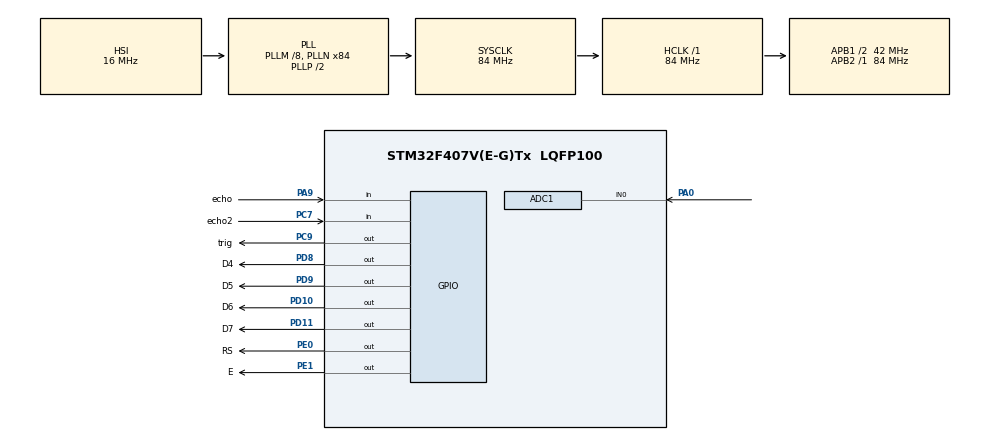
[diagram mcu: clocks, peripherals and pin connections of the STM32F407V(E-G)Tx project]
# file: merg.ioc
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ADC1.Channel-0\#ChannelRegularConversion=ADC_CHANNEL_0
ADC1.ContinuousConvMode=ENABLE
ADC1.DMAContinuousRequests=DISABLE
ADC1.NbrOfConversionFlag=1
ADC1.Rank-0\#ChannelRegularConversion=1
ADC1.Resolution=ADC_RESOLUTION_8B
ADC1.SamplingTime-0\#ChannelRegularConversion=ADC_SAMPLETIME_84CYCLES
ADC1.ScanConvMode=DISABLE
ADC1.master=1
Mcu.Family=STM32F4
Mcu.Name=STM32F407V(E-G)Tx
Mcu.Package=LQFP100
NVIC.PriorityGroup=NVIC_PRIORITYGROUP_4
PA0-WKUP.Signal=ADCx_IN0
PA9.GPIO_Label=echo
PA9.Signal=GPIO_Input
PC7.GPIO_Label=echo2
PC7.Signal=GPIO_Input
PC9.GPIO_Label=trig
PC9.Signal=GPIO_Output
PD10.GPIO_Label=D6
PD10.Signal=GPIO_Output
PD11.GPIO_Label=D7
PD11.Signal=GPIO_Output
PD8.GPIO_Label=D4
PD8.Signal=GPIO_Output
PD9.GPIO_Label=D5
PD9.Signal=GPIO_Output
PE0.GPIO_Label=RS
PE0.Signal=GPIO_Output
PE1.GPIO_Label=E
PE1.Signal=GPIO_Output
PH0-OSC_IN.Mode=HSE-External-Oscillator
PH0-OSC_IN.Signal=RCC_OSC_IN
PH1-OSC_OUT.Mode=HSE-External-Oscillator
PH1-OSC_OUT.Signal=RCC_OSC_OUT
ProjectManager.HeapSize=0x200
ProjectManager.StackSize=0x400
ProjectManager.TargetToolchain=MDK-ARM V4
RCC.48MHZClocksFreq_Value=42000000
RCC.AHBFreq_Value=84000000
RCC.APB1CLKDivider=RCC_HCLK_DIV2
RCC.APB1Freq_Value=42000000
RCC.APB1TimFreq_Value=84000000
RCC.APB2Freq_Value=84000000
RCC.APB2TimFreq_Value=84000000
RCC.CortexFreq_Value=84000000
RCC.HCLKFreq_Value=84000000
RCC.HSE_VALUE=25000000
RCC.HSI_VALUE=16000000
RCC.LSE_VALUE=32768
RCC.PLLM=8
RCC.PLLN=84
RCC.SYSCLKFreq_VALUE=84000000
RCC.SYSCLKSource=RCC_SYSCLKSOURCE_PLLCLK
RCC.VCOOutputFreq_Value=168000000
SH.ADCx_IN0.0=ADC1_IN0,IN0
TIM1.Period=0xffff
TIM1.Prescaler=84-1
VP_TIM1_VS_ClockSourceINT.Mode=Internal
board=custom

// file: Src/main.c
/* USER CODE BEGIN Header */
/**
  ******************************************************************************
  * @file           : main.c
  * @brief          : Main program body
  ******************************************************************************
  * @attention
  *
  * <h2><center>&copy; Copyright (c) 2020 STMicroelectronics.
  * All rights reserved.</center></h2>
  *
  * This software component is licensed by ST under BSD 3-Clause license,
  * the "License"; You may not use this file except in compliance with the
  * License. You may obtain a copy of the License at:
  *                        opensource.org/licenses/BSD-3-Clause
  *
  ******************************************************************************
  */
/* USER CODE END Header */

#include "main.h"
#include "STM_MY_LCD16X2.h"
#include <stdint.h>
#include <string.h>
#include <stdio.h>

/* USER CODE BEGIN PTD */
void usDelay(uint32_t uSec);
/* USER CODE END PTD */
#define usTIM	TIM4

TIM_HandleTypeDef htim1;
ADC_HandleTypeDef hadc1;
/* USER CODE BEGIN PV */
uint8_t adc_value=0;
/* USER CODE END PV */

void SystemClock_Config(void);
static void MX_GPIO_Init(void);
static void MX_TIM1_Init(void);
static void MX_ADC1_Init(void);
/* USER CODE BEGIN PFP */

uint32_t sensor_time,sensor_time2,i;

uint16_t distance,distance2;

/* USER CODE END PFP */
void delay (uint16_t delay)
	{
		__HAL_TIM_SET_COUNTER (&htim1, 0);
		while (__HAL_TIM_GET_COUNTER (&htim1) < delay);
	}
/* USER CODE BEGIN 0 */
	uint32_t hcsr04_read(void)
	{
		uint32_t Local_time =0;
		i =33;
		//HAL_GPIO_WritePin(GPIOA, trig_Pin, GPIO_PIN_RESET);
		HAL_GPIO_WritePin(trig_GPIO_Port, trig_Pin, GPIO_PIN_RESET);

		delay(3);
		i = 34;

		HAL_GPIO_WritePin(trig_GPIO_Port, trig_Pin, GPIO_PIN_SET); //pull the trig high
		i = 35;

		delay(10);
		i = 36;
		HAL_GPIO_WritePin(trig_GPIO_Port, trig_Pin, GPIO_PIN_RESET); // pull the trig low

		// wait for echo pin to go to high
		i=44;
		while (HAL_GPIO_ReadPin(echo_GPIO_Port, echo_Pin) == GPIO_PIN_RESET);
		//while (HAL_GPIO_ReadPin(echo2_GPIO_Port, echo2_Pin) == GPIO_PIN_RESET);
		i=55;
		while (HAL_GPIO_ReadPin(echo_GPIO_Port, echo_Pin) == GPIO_PIN_SET)
		{
			i=66;
			Local_time ++;
			delay(2);
			//usDelay(1);
		}
		i=77;
		return Local_time*2;
	}

		uint32_t hcsr04_read2(void)
	{
		uint32_t Local_time =0;
		i =33;
		//HAL_GPIO_WritePin(GPIOA, trig_Pin, GPIO_PIN_RESET);
		HAL_GPIO_WritePin(trig_GPIO_Port, trig_Pin, GPIO_PIN_RESET);

		delay(3);
		i = 34;

		HAL_GPIO_WritePin(trig_GPIO_Port, trig_Pin, GPIO_PIN_SET); //pull the trig high
		i = 35;

		delay(10);
		i = 36;
		HAL_GPIO_WritePin(trig_GPIO_Port, trig_Pin, GPIO_PIN_RESET); // pull the trig low

		// wait for echo pin to go to high
		i=44;
		while (HAL_GPIO_ReadPin(echo2_GPIO_Port, echo2_Pin) == GPIO_PIN_RESET);
		//while (HAL_GPIO_ReadPin(echo2_GPIO_Port, echo2_Pin) == GPIO_PIN_RESET);
		i=55;
		while (HAL_GPIO_ReadPin(echo2_GPIO_Port, echo2_Pin) == GPIO_PIN_SET)
		{
			i=66;
			Local_time ++;
			delay(2);
			//usDelay(1);
		}
		i=77;
		return Local_time*2;
	}

/* USER CODE END PFP */
	char uartBuf[100];
	//string str;
/* Private user code ---------------------------------------------------------*/
/* USER CODE BEGIN 0 */

/* USER CODE END 0 */

int main(void)
{

	i =1;

  /* MCU Configuration--------------------------------------------------------*/

  /* Reset of all peripherals, Initializes the Flash interface and the Systick. */
  HAL_Init();

  /* USER CODE BEGIN Init */
 i = 2;
  /* USER CODE END Init */

  /* Configure the system clock */
  SystemClock_Config();

  /* Initialize all configured peripherals */
  MX_GPIO_Init();
  MX_TIM1_Init();
	MX_ADC1_Init();
  /* USER CODE BEGIN 2 */

	char temperature[10];
	 //LCD1602_print("start");
  /* USER CODE END 2 */
	HAL_TIM_Base_Start (&htim1);
  /* Infinite loop */
  /* USER CODE BEGIN WHILE */
	i =3;
  while (1)
  {
		i = 4;

		HAL_ADC_Start_IT (&hadc1);
		HAL_ADC_PollForConversion (&hadc1,100);
		adc_value = HAL_ADC_GetValue(&hadc1);
		HAL_Delay(100);

    /* USER CODE END WHILE */
			sensor_time = hcsr04_read();
		 i = 5;
		distance = sensor_time * .034/2;
		i = 6;
	  LCD1602_Begin4BIT(RS_GPIO_Port,RS_Pin,E_Pin,D4_GPIO_Port,D4_Pin,D5_Pin,D6_Pin,D7_Pin);
		if ((distance <10)&&(distance2>10)){
			LCD1602_print("Go left");
		}
		else LCD1602_print("Right:Safe");

		sprintf (temperature, " T:%d", adc_value); // convert temperature
		LCD1602_print(temperature);  // print temperature

		sensor_time2 = hcsr04_read2();
		distance2 = sensor_time2 * .034/2;

		sprintf (temperature, " T:%d", adc_value);

		if ((distance2 <10)&&(distance > 10)){
			LCD1602_2ndLine();
			LCD1602_print("Go right ");
		}
		else {
			LCD1602_2ndLine();
			LCD1602_print("Left:Safe");
		}

		//if ( (distance && distance2)< 10) {
			//`LCD1602_Begin4BIT(RS_GPIO_Port,RS_Pin,E_Pin,D4_GPIO_Port,D4_Pin,D5_Pin,D6_Pin,D7_Pin);
		//	LCD1602_print("PRESS THE BREAK");
		//}
		HAL_Delay(100);

		i = 7;
  }
	i=5;

}

void SystemClock_Config(void)
{
  RCC_OscInitTypeDef RCC_OscInitStruct = {0};
  RCC_ClkInitTypeDef RCC_ClkInitStruct = {0};

  /** Configure the main internal regulator output voltage
  */
  __HAL_RCC_PWR_CLK_ENABLE();
  __HAL_PWR_VOLTAGESCALING_CONFIG(PWR_REGULATOR_VOLTAGE_SCALE1);
  /** Initializes the CPU, AHB and APB busses clocks
  */
  RCC_OscInitStruct.OscillatorType = RCC_OSCILLATORTYPE_HSI;
  RCC_OscInitStruct.HSIState = RCC_HSI_ON;
  RCC_OscInitStruct.HSICalibrationValue = RCC_HSICALIBRATION_DEFAULT;
  RCC_OscInitStruct.PLL.PLLState = RCC_PLL_ON;
  RCC_OscInitStruct.PLL.PLLSource = RCC_PLLSOURCE_HSI;
  RCC_OscInitStruct.PLL.PLLM = 8;
  RCC_OscInitStruct.PLL.PLLN = 84;
  RCC_OscInitStruct.PLL.PLLP = RCC_PLLP_DIV2;
  RCC_OscInitStruct.PLL.PLLQ = 4;
  if (HAL_RCC_OscConfig(&RCC_OscInitStruct) != HAL_OK)
  {
    Error_Handler();
  }
  /** Initializes the CPU, AHB and APB busses clocks
  */
  RCC_ClkInitStruct.ClockType = RCC_CLOCKTYPE_HCLK|RCC_CLOCKTYPE_SYSCLK
                              |RCC_CLOCKTYPE_PCLK1|RCC_CLOCKTYPE_PCLK2;
  RCC_ClkInitStruct.SYSCLKSource = RCC_SYSCLKSOURCE_PLLCLK;
  RCC_ClkInitStruct.AHBCLKDivider = RCC_SYSCLK_DIV1;
  RCC_ClkInitStruct.APB1CLKDivider = RCC_HCLK_DIV2;
  RCC_ClkInitStruct.APB2CLKDivider = RCC_HCLK_DIV1;

  if (HAL_RCC_ClockConfig(&RCC_ClkInitStruct, FLASH_LATENCY_2) != HAL_OK)
  {
    Error_Handler();
  }
}

static void MX_ADC1_Init(void)
{

  ADC_ChannelConfTypeDef sConfig = {0};

  /** Configure the global features of the ADC (Clock, Resolution, Data Alignment and number of conversion)
  */
  hadc1.Instance = ADC1;
  hadc1.Init.ClockPrescaler = ADC_CLOCK_SYNC_PCLK_DIV4;
  hadc1.Init.Resolution = ADC_RESOLUTION_8B;
  hadc1.Init.ScanConvMode = DISABLE;
  hadc1.Init.ContinuousConvMode = ENABLE;
  hadc1.Init.DiscontinuousConvMode = DISABLE;
  hadc1.Init.ExternalTrigConvEdge = ADC_EXTERNALTRIGCONVEDGE_NONE;
  hadc1.Init.ExternalTrigConv = ADC_SOFTWARE_START;
  hadc1.Init.DataAlign = ADC_DATAALIGN_RIGHT;
  hadc1.Init.NbrOfConversion = 1;
  hadc1.Init.DMAContinuousRequests = DISABLE;
  hadc1.Init.EOCSelection = ADC_EOC_SINGLE_CONV;
  if (HAL_ADC_Init(&hadc1) != HAL_OK)
  {
    Error_Handler();
  }
  /** Configure for the selected ADC regular channel its corresponding rank in the sequencer and its sample time.
  */
  sConfig.Channel = ADC_CHANNEL_0;
  sConfig.Rank = 1;
  sConfig.SamplingTime = ADC_SAMPLETIME_84CYCLES;
  if (HAL_ADC_ConfigChannel(&hadc1, &sConfig) != HAL_OK)
  {
    Error_Handler();
  }

}

static void MX_TIM1_Init(void)
{

  TIM_ClockConfigTypeDef sClockSourceConfig = {0};
  TIM_MasterConfigTypeDef sMasterConfig = {0};

  htim1.Instance = TIM1;
  htim1.Init.Prescaler = 84-1;
  htim1.Init.CounterMode = TIM_COUNTERMODE_UP;
  htim1.Init.Period = 1000000-1;
  htim1.Init.ClockDivision = TIM_CLOCKDIVISION_DIV1;
  htim1.Init.RepetitionCounter = 0;
  htim1.Init.AutoReloadPreload = TIM_AUTORELOAD_PRELOAD_DISABLE;
  if (HAL_TIM_Base_Init(&htim1) != HAL_OK)
  {
    Error_Handler();
  }
  sClockSourceConfig.ClockSource = TIM_CLOCKSOURCE_INTERNAL;
  if (HAL_TIM_ConfigClockSource(&htim1, &sClockSourceConfig) != HAL_OK)
  {
    Error_Handler();
  }
  sMasterConfig.MasterOutputTrigger = TIM_TRGO_RESET;
  sMasterConfig.MasterSlaveMode = TIM_MASTERSLAVEMODE_DISABLE;
  if (HAL_TIMEx_MasterConfigSynchronization(&htim1, &sMasterConfig) != HAL_OK)
  {
    Error_Handler();
  }

}

static void MX_GPIO_Init(void)
{
  GPIO_InitTypeDef GPIO_InitStruct = {0};

  /* GPIO Ports Clock Enable */
  __HAL_RCC_GPIOH_CLK_ENABLE();
  __HAL_RCC_GPIOD_CLK_ENABLE();
  __HAL_RCC_GPIOC_CLK_ENABLE();
  __HAL_RCC_GPIOA_CLK_ENABLE();
  __HAL_RCC_GPIOE_CLK_ENABLE();

  /*Configure GPIO pin Output Level */
  HAL_GPIO_WritePin(GPIOD, D4_Pin|D5_Pin|D6_Pin|D7_Pin, GPIO_PIN_RESET);

  /*Configure GPIO pin Output Level */
  HAL_GPIO_WritePin(trig_GPIO_Port, trig_Pin, GPIO_PIN_RESET);

  /*Configure GPIO pin Output Level */
  HAL_GPIO_WritePin(GPIOE, RS_Pin|E_Pin, GPIO_PIN_RESET);

  /*Configure GPIO pins : D4_Pin D5_Pin D6_Pin D7_Pin */
  GPIO_InitStruct.Pin = D4_Pin|D5_Pin|D6_Pin|D7_Pin;
  GPIO_InitStruct.Mode = GPIO_MODE_OUTPUT_PP;
  GPIO_InitStruct.Pull = GPIO_NOPULL;
  GPIO_InitStruct.Speed = GPIO_SPEED_FREQ_LOW;
  HAL_GPIO_Init(GPIOD, &GPIO_InitStruct);

  /*Configure GPIO pin : echo2_Pin */
  GPIO_InitStruct.Pin = echo2_Pin;
  GPIO_InitStruct.Mode = GPIO_MODE_INPUT;
  GPIO_InitStruct.Pull = GPIO_NOPULL;
  HAL_GPIO_Init(echo2_GPIO_Port, &GPIO_InitStruct);

  /*Configure GPIO pin : trig_Pin */
  GPIO_InitStruct.Pin = trig_Pin;
  GPIO_InitStruct.Mode = GPIO_MODE_OUTPUT_PP;
  GPIO_InitStruct.Pull = GPIO_NOPULL;
  GPIO_InitStruct.Speed = GPIO_SPEED_FREQ_LOW;
  HAL_GPIO_Init(trig_GPIO_Port, &GPIO_InitStruct);

  /*Configure GPIO pin : echo_Pin */
  GPIO_InitStruct.Pin = echo_Pin;
  GPIO_InitStruct.Mode = GPIO_MODE_INPUT;
  GPIO_InitStruct.Pull = GPIO_NOPULL;
  HAL_GPIO_Init(echo_GPIO_Port, &GPIO_InitStruct);

  /*Configure GPIO pins : RS_Pin E_Pin */
  GPIO_InitStruct.Pin = RS_Pin|E_Pin;
  GPIO_InitStruct.Mode = GPIO_MODE_OUTPUT_PP;
  GPIO_InitStruct.Pull = GPIO_NOPULL;
  GPIO_InitStruct.Speed = GPIO_SPEED_FREQ_LOW;
  HAL_GPIO_Init(GPIOE, &GPIO_InitStruct);

}

/* USER CODE BEGIN 4 */
void usDelay(uint32_t uSec) // not used in this project
{
	if(uSec < 2) uSec = 2;
	usTIM->ARR = uSec - 1; 	/*sets the value in the auto-reload register*/
	usTIM->EGR = 1; 			/*Re-initialises the timer*/
	usTIM->SR &= ~1; 		//Resets the flag
	usTIM->CR1 |= 1; 		//Enables the counter
	while((usTIM->SR&0x0001) != 1);
	usTIM->SR &= ~(0x0001);
}
/* USER CODE END 4 */

void Error_Handler(void)
{
}

/************************ (C) COPYRIGHT STMicroelectronics *****END OF FILE****/
